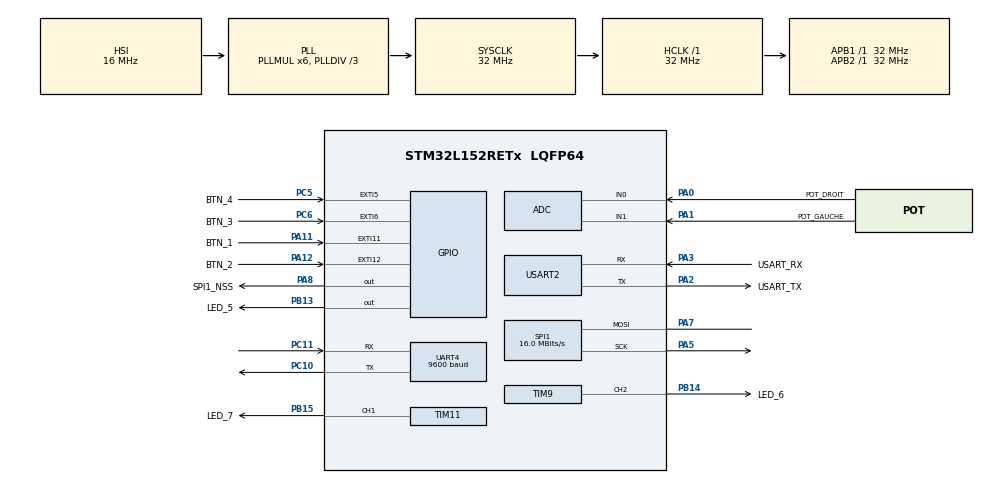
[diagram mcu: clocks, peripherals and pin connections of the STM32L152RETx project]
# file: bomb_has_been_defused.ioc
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ADC.Channel-0\#ChannelRegularConversion=ADC_CHANNEL_0
ADC.Channel-1\#ChannelRegularConversion=ADC_CHANNEL_1
ADC.DMAContinuousRequests=ENABLE
ADC.NbrOfConversion=2
ADC.NbrOfConversionFlag=1
ADC.Rank-0\#ChannelRegularConversion=1
ADC.Rank-1\#ChannelRegularConversion=2
ADC.SamplingTime-0\#ChannelRegularConversion=ADC_SAMPLETIME_4CYCLES
ADC.SamplingTime-1\#ChannelRegularConversion=ADC_SAMPLETIME_4CYCLES
ADC.ScanConvMode=ADC_SCAN_ENABLE
Dma.ADC.0.Direction=DMA_PERIPH_TO_MEMORY
Dma.ADC.0.Instance=DMA1_Channel1
Dma.ADC.0.MemDataAlignment=DMA_MDATAALIGN_HALFWORD
Dma.ADC.0.MemInc=DMA_MINC_ENABLE
Dma.ADC.0.Mode=DMA_CIRCULAR
Dma.ADC.0.PeriphDataAlignment=DMA_PDATAALIGN_HALFWORD
Dma.ADC.0.PeriphInc=DMA_PINC_DISABLE
Dma.ADC.0.Priority=DMA_PRIORITY_MEDIUM
Dma.Request0=ADC
Mcu.Family=STM32L1
Mcu.Name=STM32L152RETx
Mcu.Package=LQFP64
NVIC.ADC1_IRQn=true\:0\:5\:false\:false\:true\:true\:true\:true
NVIC.DMA1_Channel1_IRQn=true\:0\:0\:false\:false\:true\:false\:true\:true
NVIC.EXTI15_10_IRQn=true\:0\:0\:false\:false\:true\:true\:true\:true
NVIC.EXTI9_5_IRQn=true\:0\:0\:false\:false\:true\:true\:true\:true
NVIC.PriorityGroup=NVIC_PRIORITYGROUP_0
NVIC.TIM10_IRQn=true\:0\:2\:false\:false\:true\:true\:true\:true
NVIC.TIM11_IRQn=true\:0\:4\:false\:false\:true\:true\:true\:true
NVIC.TIM2_IRQn=true\:0\:1\:false\:false\:true\:true\:true\:true
NVIC.TIM3_IRQn=true\:0\:3\:false\:false\:true\:true\:true\:true
NVIC.TIM9_IRQn=true\:0\:4\:false\:false\:true\:true\:true\:true
PA0-WKUP1.GPIO_Label=POT_DROIT
PA0-WKUP1.Mode=IN0
PA0-WKUP1.Signal=ADC_IN0
PA1.GPIO_Label=POT_GAUCHE
PA1.Mode=IN1
PA1.Signal=ADC_IN1
PA11.GPIO_Label=BTN_1
PA11.Signal=GPXTI11
PA12.GPIO_Label=BTN_2
PA12.Signal=GPXTI12
PA13.GPIO_Label=TMS
PA13.Mode=Serial_Wire
PA13.Signal=SYS_JTMS-SWDIO
PA14.GPIO_Label=TCK
PA14.Mode=Serial_Wire
PA14.Signal=SYS_JTCK-SWCLK
PA2.GPIO_Label=USART_TX
PA2.Mode=Asynchronous
PA2.Signal=USART2_TX
PA3.GPIO_Label=USART_RX
PA3.Mode=Asynchronous
PA3.Signal=USART2_RX
PA5.Mode=Simplex_Bidirectional_Master
PA5.Signal=SPI1_SCK
PA7.Mode=Simplex_Bidirectional_Master
PA7.Signal=SPI1_MOSI
PA8.GPIO_Label=SPI1_NSS
PA8.Signal=GPIO_Output
PB13.GPIO_Label=LED_5
PB13.Signal=GPIO_Output
PB14.GPIO_Label=LED_6
PB14.Signal=S_TIM9_CH2
PB15.GPIO_Label=LED_7
PB15.Signal=S_TIM11_CH1
PB3.GPIO_Label=SWO
PB3.Signal=SYS_JTDO-TRACESWO
PC10.Mode=Asynchronous
PC10.Signal=UART4_TX
PC11.Mode=Asynchronous
PC11.Signal=UART4_RX
PC14-OSC32_IN.Mode=LSE-External-Oscillator
PC14-OSC32_IN.Signal=RCC_OSC32_IN
PC15-OSC32_OUT.Mode=LSE-External-Oscillator
PC15-OSC32_OUT.Signal=RCC_OSC32_OUT
PC5.GPIO_Label=BTN_4
PC5.Signal=GPXTI5
PC6.GPIO_Label=BTN_3
PC6.Signal=GPXTI6
PH0-OSC_IN.Mode=HSE-External-Clock-Source
PH0-OSC_IN.Signal=RCC_OSC_IN
PH1-OSC_OUT.Signal=RCC_OSC_OUT
ProjectManager.HeapSize=0x200
ProjectManager.StackSize=0x400
ProjectManager.TargetToolchain=Makefile
RCC.48MHZClocksFreq_Value=48000000
RCC.AHBFreq_Value=32000000
RCC.APB1Freq_Value=32000000
RCC.APB1TimFreq_Value=32000000
RCC.APB2Freq_Value=32000000
RCC.APB2TimFreq_Value=32000000
RCC.HCLKFreq_Value=32000000
RCC.HSE_VALUE=8000000
RCC.HSI_VALUE=16000000
RCC.MSI_VALUE=2097000
RCC.PLLDIV=RCC_PLL_DIV3
RCC.PLLMUL=RCC_PLL_MUL6
RCC.RTCClockSelectionVirtual=RCC_RTCCLKSOURCE_LSE
RCC.SYSCLKFreq_VALUE=32000000
RCC.SYSCLKSource=RCC_SYSCLKSOURCE_PLLCLK
RCC.USBOutput=48000000
RCC.VCOOutputFreq_Value=96000000
SH.S_TIM11_CH1.0=TIM11_CH1,PWM Generation1 CH1
SH.S_TIM9_CH2.0=TIM9_CH2,PWM Generation2 CH2
SPI1.CalculateBaudRate=16.0 MBits/s
SPI1.Direction=SPI_DIRECTION_1LINE
SPI1.Mode=SPI_MODE_MASTER
SPI1.VirtualType=VM_MASTER
TIM10.Period=31999
TIM10.Prescaler=999
TIM11.Channel=TIM_CHANNEL_1
TIM2.Period=49
TIM2.Prescaler=3199
TIM3.Period=15999
TIM3.Prescaler=499
TIM9.Channel-PWM\ Generation2\ CH2=TIM_CHANNEL_2
UART4.BaudRate=9600
UART4.VirtualMode=Asynchronous
USART2.VirtualMode=VM_ASYNC
VP_TIM10_VS_ClockSourceINT.Mode=Internal
VP_TIM2_VS_ClockSourceINT.Mode=Internal
VP_TIM3_VS_ClockSourceINT.Mode=Internal
board=NUCLEO-L152RE

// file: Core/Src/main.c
/* USER CODE BEGIN Header */
/**
 ******************************************************************************
 * @file           : main.c
 * @brief          : Main program body
 ******************************************************************************
 * @attention
 *
 * Copyright (c) 2023 STMicroelectronics.
 * All rights reserved.
 *
 * This software is licensed under terms that can be found in the LICENSE file
 * in the root directory of this software component.
 * If no LICENSE file comes with this software, it is provided AS-IS.
 *
 ******************************************************************************
 */
/* USER CODE END Header */
#include "main.h"

/* USER CODE BEGIN Includes */
#include <stdio.h>
#include <stdbool.h>
#include <math.h>
/* USER CODE END Includes */

/* USER CODE BEGIN PD */
#define SPI_TIMEOUT 1000
#define TIME_GAME 60 // Temps pour defuser la bombe
#define BUFFER_SIZE 10
#define PI 3 // valeur exacte de pi
#define DELAY_DEBOUNCE 300

// Define pour le MP3 - a utilise avec la fonction void play_track(uint8_t track_nb);
// Corresponds à la position de la bande sons dans la mémoire de l'interface haut parleur
#define BIP 1
#define SOUND_START_BOMB 2
#define BOMB_DEFUSED 3
#define BOMB_EXPLODED 4
#define SOUND_PUSH_BUTTON 5
#define BOMB_HAS_BEEN_PLANTED 6
/* USER CODE END PD */

ADC_HandleTypeDef hadc;
DMA_HandleTypeDef hdma_adc;

SPI_HandleTypeDef hspi1;

TIM_HandleTypeDef htim2;
TIM_HandleTypeDef htim3;
TIM_HandleTypeDef htim9;
TIM_HandleTypeDef htim10;
TIM_HandleTypeDef htim11;

UART_HandleTypeDef huart4;
UART_HandleTypeDef huart2;

/* USER CODE BEGIN PV */
// region[rgba(1, 70, 70, 0.15)]  <= colore la région (Colored Region extension for vscode)

uint32_t seed;
uint16_t adcData[2];
volatile bool adcOk = false;

uint8_t time_in_second = TIME_GAME;
uint8_t flag_bipbip = 0;
uint8_t freqence_bipbip = 0;

bool bombPlanted = false;
uint8_t buttonPlantCurrentIndex = 0;
uint8_t buttonOrderPlant[4] = {1, 2, 3, 4}; // Séquence de boutons pour planter la bombe

volatile bool buttonOk = false;
uint8_t buttonCurrentIndex = 0;
uint8_t buttonOrderDefuse[4];
uint32_t buttonElapsed[4] = {0, 0, 0, 0}; // Tableau pour le debounce des boutons
typedef enum                              // Enumération des états du jeu
{
  ETAT_INITIALISATION,
  ETAT_JEU,
  ETAT_VICTOIRE,
  ETAT_DEFAITE
} EtatJeu;

EtatJeu etat = ETAT_INITIALISATION;
// endregion
/* USER CODE END PV */

void SystemClock_Config(void);
static void MX_GPIO_Init(void);
static void MX_DMA_Init(void);
static void MX_USART2_UART_Init(void);
static void MX_ADC_Init(void);
static void MX_SPI1_Init(void);
static void MX_TIM10_Init(void);
static void MX_UART4_Init(void);
static void MX_TIM2_Init(void);
static void MX_TIM9_Init(void);
static void MX_TIM11_Init(void);
static void MX_TIM3_Init(void);
/* USER CODE BEGIN PFP */
void ledUpdate(uint16_t adcValue, TIM_HandleTypeDef *htim, uint32_t Channel);
void BCD_SendCommand(uint8_t addr, uint8_t data);
void BCD_Init(uint16_t time_in_second);
void HAL_TIM_PeriodElapsedCallback(TIM_HandleTypeDef *htim);
int BCD_updateClock(uint16_t time_in_second);
void secondToClockDisplay(uint16_t time_in_second);
void play();
void play_track(uint8_t track_nb);
void randomButtonSequence();

/* USER CODE END PFP */

int main(void)
{

  /* MCU Configuration--------------------------------------------------------*/

  /* Reset of all peripherals, Initializes the Flash interface and the Systick. */
  HAL_Init();

  /* Configure the system clock */
  SystemClock_Config();

  /* Initialize all configured peripherals */
  MX_GPIO_Init();
  MX_DMA_Init();
  MX_USART2_UART_Init();
  MX_ADC_Init();
  MX_SPI1_Init();
  MX_TIM10_Init();
  MX_UART4_Init();
  MX_TIM2_Init();
  MX_TIM9_Init();
  MX_TIM11_Init();
  MX_TIM3_Init();
  /* USER CODE BEGIN 2 */
  printf("Starting\r\n");

  HAL_TIM_Base_Start_IT(&htim2);
  HAL_TIM_PWM_Start(&htim11, TIM_CHANNEL_1);
  HAL_TIM_PWM_Start(&htim9, TIM_CHANNEL_2);
  HAL_TIM_Base_Start_IT(&htim3); // Timer bipbip

  BCD_Init(0);
  play_track(SOUND_START_BOMB);
  /* USER CODE END 2 */

  /* Infinite loop */
  /* USER CODE BEGIN WHILE */
  // region[rgba(52, 73, 94, 0.1)]
  while (1)
  {
    switch (etat)
    {
      // Initialisation
    case ETAT_INITIALISATION:
    {
      printf("ETAT_INITIALISATION\r\n");
      if (bombPlanted == true)
      {
        play_track(BOMB_HAS_BEEN_PLANTED);
        HAL_Delay(1500);          // Délai pour jouer le son de la bombe plantée
        BCD_Init(time_in_second); // Clignotement de l'afficheur et préparation à l'affichage
        randomButtonSequence();   // Générer une nouvelle séquence si nécessaire
        bombPlanted = false;
        etat = ETAT_JEU;
      }
      break;
    }
      // Jeu
    case ETAT_JEU:
    {
      HAL_TIM_Base_Start_IT(&htim10); // Timer décompteur
      if (etat == ETAT_JEU)
      {
        printf("ETAT_JEU\r\n");
        if (time_in_second == 0)
        {
          etat = ETAT_DEFAITE;
        }
        if (buttonOk)
        {
          HAL_GPIO_TogglePin(LED_5_GPIO_Port, LED_5_Pin);
          HAL_Delay(200);
          if (adcOk)
          {
            etat = ETAT_VICTOIRE;
          }
        }
        // Gestion fréquence des bip bip
        if (time_in_second > 15)  {freqence_bipbip = 200;}
        if (time_in_second <= 15) {freqence_bipbip = 100;}
        if (time_in_second <= 10) {freqence_bipbip = 50;}
        if (time_in_second <= 5)   {freqence_bipbip = 30;}
        if (flag_bipbip > freqence_bipbip)
        {
          play_track(BIP);
          flag_bipbip = 0;
        }
      }
      break;
    }
    // Victoire
    case ETAT_VICTOIRE:
    {
      if (etat == ETAT_VICTOIRE)
      {
        printf("ETAT_VICTOIRE\r\n");
        HAL_TIM_Base_Stop_IT(&htim10);
        play_track(BOMB_DEFUSED);
        etat = ETAT_INITIALISATION;
      }
      break;
    }
    // Défaite
    case ETAT_DEFAITE:
    {
      if (etat == ETAT_DEFAITE)
      {
        printf("ETAT_DEFAITE\r\n");
        HAL_TIM_Base_Stop_IT(&htim10);
        play_track(BOMB_EXPLODED);
        etat = ETAT_INITIALISATION;
      }
    }
    default:
      break;
    }
  }
  // endregion
  /* USER CODE END WHILE */

}

void SystemClock_Config(void)
{
  RCC_OscInitTypeDef RCC_OscInitStruct = {0};
  RCC_ClkInitTypeDef RCC_ClkInitStruct = {0};

  /** Configure the main internal regulator output voltage
   */
  __HAL_PWR_VOLTAGESCALING_CONFIG(PWR_REGULATOR_VOLTAGE_SCALE1);

  /** Initializes the RCC Oscillators according to the specified parameters
   * in the RCC_OscInitTypeDef structure.
   */
  RCC_OscInitStruct.OscillatorType = RCC_OSCILLATORTYPE_HSI;
  RCC_OscInitStruct.HSIState = RCC_HSI_ON;
  RCC_OscInitStruct.HSICalibrationValue = RCC_HSICALIBRATION_DEFAULT;
  RCC_OscInitStruct.PLL.PLLState = RCC_PLL_ON;
  RCC_OscInitStruct.PLL.PLLSource = RCC_PLLSOURCE_HSI;
  RCC_OscInitStruct.PLL.PLLMUL = RCC_PLL_MUL6;
  RCC_OscInitStruct.PLL.PLLDIV = RCC_PLL_DIV3;
  if (HAL_RCC_OscConfig(&RCC_OscInitStruct) != HAL_OK)
  {
    Error_Handler();
  }

  /** Initializes the CPU, AHB and APB buses clocks
   */
  RCC_ClkInitStruct.ClockType = RCC_CLOCKTYPE_HCLK | RCC_CLOCKTYPE_SYSCLK | RCC_CLOCKTYPE_PCLK1 | RCC_CLOCKTYPE_PCLK2;
  RCC_ClkInitStruct.SYSCLKSource = RCC_SYSCLKSOURCE_PLLCLK;
  RCC_ClkInitStruct.AHBCLKDivider = RCC_SYSCLK_DIV1;
  RCC_ClkInitStruct.APB1CLKDivider = RCC_HCLK_DIV1;
  RCC_ClkInitStruct.APB2CLKDivider = RCC_HCLK_DIV1;

  if (HAL_RCC_ClockConfig(&RCC_ClkInitStruct, FLASH_LATENCY_1) != HAL_OK)
  {
    Error_Handler();
  }
}

static void MX_ADC_Init(void)
{

  ADC_ChannelConfTypeDef sConfig = {0};

  /** Configure the global features of the ADC (Clock, Resolution, Data Alignment and number of conversion)
   */
  hadc.Instance = ADC1;
  hadc.Init.ClockPrescaler = ADC_CLOCK_ASYNC_DIV1;
  hadc.Init.Resolution = ADC_RESOLUTION_12B;
  hadc.Init.DataAlign = ADC_DATAALIGN_RIGHT;
  hadc.Init.ScanConvMode = ADC_SCAN_ENABLE;
  hadc.Init.EOCSelection = ADC_EOC_SEQ_CONV;
  hadc.Init.LowPowerAutoWait = ADC_AUTOWAIT_DISABLE;
  hadc.Init.LowPowerAutoPowerOff = ADC_AUTOPOWEROFF_DISABLE;
  hadc.Init.ChannelsBank = ADC_CHANNELS_BANK_A;
  hadc.Init.ContinuousConvMode = DISABLE;
  hadc.Init.NbrOfConversion = 2;
  hadc.Init.DiscontinuousConvMode = DISABLE;
  hadc.Init.ExternalTrigConv = ADC_SOFTWARE_START;
  hadc.Init.ExternalTrigConvEdge = ADC_EXTERNALTRIGCONVEDGE_NONE;
  hadc.Init.DMAContinuousRequests = ENABLE;
  if (HAL_ADC_Init(&hadc) != HAL_OK)
  {
    Error_Handler();
  }

  /** Configure for the selected ADC regular channel its corresponding rank in the sequencer and its sample time.
   */
  sConfig.Channel = ADC_CHANNEL_0;
  sConfig.Rank = ADC_REGULAR_RANK_1;
  sConfig.SamplingTime = ADC_SAMPLETIME_4CYCLES;
  if (HAL_ADC_ConfigChannel(&hadc, &sConfig) != HAL_OK)
  {
    Error_Handler();
  }

  /** Configure for the selected ADC regular channel its corresponding rank in the sequencer and its sample time.
   */
  sConfig.Channel = ADC_CHANNEL_1;
  sConfig.Rank = ADC_REGULAR_RANK_2;
  if (HAL_ADC_ConfigChannel(&hadc, &sConfig) != HAL_OK)
  {
    Error_Handler();
  }
}

static void MX_SPI1_Init(void)
{

  /* SPI1 parameter configuration*/
  hspi1.Instance = SPI1;
  hspi1.Init.Mode = SPI_MODE_MASTER;
  hspi1.Init.Direction = SPI_DIRECTION_1LINE;
  hspi1.Init.DataSize = SPI_DATASIZE_8BIT;
  hspi1.Init.CLKPolarity = SPI_POLARITY_LOW;
  hspi1.Init.CLKPhase = SPI_PHASE_1EDGE;
  hspi1.Init.NSS = SPI_NSS_SOFT;
  hspi1.Init.BaudRatePrescaler = SPI_BAUDRATEPRESCALER_2;
  hspi1.Init.FirstBit = SPI_FIRSTBIT_MSB;
  hspi1.Init.TIMode = SPI_TIMODE_DISABLE;
  hspi1.Init.CRCCalculation = SPI_CRCCALCULATION_DISABLE;
  hspi1.Init.CRCPolynomial = 10;
  if (HAL_SPI_Init(&hspi1) != HAL_OK)
  {
    Error_Handler();
  }
}

static void MX_TIM2_Init(void)
{

  TIM_ClockConfigTypeDef sClockSourceConfig = {0};
  TIM_MasterConfigTypeDef sMasterConfig = {0};

  htim2.Instance = TIM2;
  htim2.Init.Prescaler = 3199;
  htim2.Init.CounterMode = TIM_COUNTERMODE_UP;
  htim2.Init.Period = 49;
  htim2.Init.ClockDivision = TIM_CLOCKDIVISION_DIV1;
  htim2.Init.AutoReloadPreload = TIM_AUTORELOAD_PRELOAD_DISABLE;
  if (HAL_TIM_Base_Init(&htim2) != HAL_OK)
  {
    Error_Handler();
  }
  sClockSourceConfig.ClockSource = TIM_CLOCKSOURCE_INTERNAL;
  if (HAL_TIM_ConfigClockSource(&htim2, &sClockSourceConfig) != HAL_OK)
  {
    Error_Handler();
  }
  sMasterConfig.MasterOutputTrigger = TIM_TRGO_RESET;
  sMasterConfig.MasterSlaveMode = TIM_MASTERSLAVEMODE_DISABLE;
  if (HAL_TIMEx_MasterConfigSynchronization(&htim2, &sMasterConfig) != HAL_OK)
  {
    Error_Handler();
  }
}

static void MX_TIM3_Init(void)
{

  TIM_ClockConfigTypeDef sClockSourceConfig = {0};
  TIM_MasterConfigTypeDef sMasterConfig = {0};

  htim3.Instance = TIM3;
  htim3.Init.Prescaler = 499;
  htim3.Init.CounterMode = TIM_COUNTERMODE_UP;
  htim3.Init.Period = 15999;
  htim3.Init.ClockDivision = TIM_CLOCKDIVISION_DIV1;
  htim3.Init.AutoReloadPreload = TIM_AUTORELOAD_PRELOAD_DISABLE;
  if (HAL_TIM_Base_Init(&htim3) != HAL_OK)
  {
    Error_Handler();
  }
  sClockSourceConfig.ClockSource = TIM_CLOCKSOURCE_INTERNAL;
  if (HAL_TIM_ConfigClockSource(&htim3, &sClockSourceConfig) != HAL_OK)
  {
    Error_Handler();
  }
  sMasterConfig.MasterOutputTrigger = TIM_TRGO_RESET;
  sMasterConfig.MasterSlaveMode = TIM_MASTERSLAVEMODE_DISABLE;
  if (HAL_TIMEx_MasterConfigSynchronization(&htim3, &sMasterConfig) != HAL_OK)
  {
    Error_Handler();
  }
}

static void MX_TIM9_Init(void)
{

  TIM_MasterConfigTypeDef sMasterConfig = {0};
  TIM_OC_InitTypeDef sConfigOC = {0};

  htim9.Instance = TIM9;
  htim9.Init.Prescaler = 0;
  htim9.Init.CounterMode = TIM_COUNTERMODE_UP;
  htim9.Init.Period = 65535;
  htim9.Init.ClockDivision = TIM_CLOCKDIVISION_DIV1;
  htim9.Init.AutoReloadPreload = TIM_AUTORELOAD_PRELOAD_DISABLE;
  if (HAL_TIM_PWM_Init(&htim9) != HAL_OK)
  {
    Error_Handler();
  }
  sMasterConfig.MasterOutputTrigger = TIM_TRGO_RESET;
  sMasterConfig.MasterSlaveMode = TIM_MASTERSLAVEMODE_DISABLE;
  if (HAL_TIMEx_MasterConfigSynchronization(&htim9, &sMasterConfig) != HAL_OK)
  {
    Error_Handler();
  }
  sConfigOC.OCMode = TIM_OCMODE_PWM1;
  sConfigOC.Pulse = 0;
  sConfigOC.OCPolarity = TIM_OCPOLARITY_HIGH;
  sConfigOC.OCFastMode = TIM_OCFAST_DISABLE;
  if (HAL_TIM_PWM_ConfigChannel(&htim9, &sConfigOC, TIM_CHANNEL_2) != HAL_OK)
  {
    Error_Handler();
  }
  HAL_TIM_MspPostInit(&htim9);
}

static void MX_TIM10_Init(void)
{

  TIM_ClockConfigTypeDef sClockSourceConfig = {0};

  htim10.Instance = TIM10;
  htim10.Init.Prescaler = 999;
  htim10.Init.CounterMode = TIM_COUNTERMODE_UP;
  htim10.Init.Period = 31999;
  htim10.Init.ClockDivision = TIM_CLOCKDIVISION_DIV1;
  htim10.Init.AutoReloadPreload = TIM_AUTORELOAD_PRELOAD_DISABLE;
  if (HAL_TIM_Base_Init(&htim10) != HAL_OK)
  {
    Error_Handler();
  }
  sClockSourceConfig.ClockSource = TIM_CLOCKSOURCE_INTERNAL;
  if (HAL_TIM_ConfigClockSource(&htim10, &sClockSourceConfig) != HAL_OK)
  {
    Error_Handler();
  }
}

static void MX_TIM11_Init(void)
{

  TIM_OC_InitTypeDef sConfigOC = {0};

  htim11.Instance = TIM11;
  htim11.Init.Prescaler = 0;
  htim11.Init.CounterMode = TIM_COUNTERMODE_UP;
  htim11.Init.Period = 65535;
  htim11.Init.ClockDivision = TIM_CLOCKDIVISION_DIV1;
  htim11.Init.AutoReloadPreload = TIM_AUTORELOAD_PRELOAD_DISABLE;
  if (HAL_TIM_PWM_Init(&htim11) != HAL_OK)
  {
    Error_Handler();
  }
  sConfigOC.OCMode = TIM_OCMODE_PWM1;
  sConfigOC.Pulse = 0;
  sConfigOC.OCPolarity = TIM_OCPOLARITY_HIGH;
  sConfigOC.OCFastMode = TIM_OCFAST_DISABLE;
  if (HAL_TIM_PWM_ConfigChannel(&htim11, &sConfigOC, TIM_CHANNEL_1) != HAL_OK)
  {
    Error_Handler();
  }
  HAL_TIM_MspPostInit(&htim11);
}

static void MX_UART4_Init(void)
{

  huart4.Instance = UART4;
  huart4.Init.BaudRate = 9600;
  huart4.Init.WordLength = UART_WORDLENGTH_8B;
  huart4.Init.StopBits = UART_STOPBITS_1;
  huart4.Init.Parity = UART_PARITY_NONE;
  huart4.Init.Mode = UART_MODE_TX_RX;
  huart4.Init.HwFlowCtl = UART_HWCONTROL_NONE;
  huart4.Init.OverSampling = UART_OVERSAMPLING_16;
  if (HAL_UART_Init(&huart4) != HAL_OK)
  {
    Error_Handler();
  }
}

static void MX_USART2_UART_Init(void)
{

  huart2.Instance = USART2;
  huart2.Init.BaudRate = 115200;
  huart2.Init.WordLength = UART_WORDLENGTH_8B;
  huart2.Init.StopBits = UART_STOPBITS_1;
  huart2.Init.Parity = UART_PARITY_NONE;
  huart2.Init.Mode = UART_MODE_TX_RX;
  huart2.Init.HwFlowCtl = UART_HWCONTROL_NONE;
  huart2.Init.OverSampling = UART_OVERSAMPLING_16;
  if (HAL_UART_Init(&huart2) != HAL_OK)
  {
    Error_Handler();
  }
}

static void MX_DMA_Init(void)
{

  /* DMA controller clock enable */
  __HAL_RCC_DMA1_CLK_ENABLE();

  /* DMA interrupt init */
  /* DMA1_Channel1_IRQn interrupt configuration */
  HAL_NVIC_SetPriority(DMA1_Channel1_IRQn, 0, 0);
  HAL_NVIC_EnableIRQ(DMA1_Channel1_IRQn);
}

static void MX_GPIO_Init(void)
{
  GPIO_InitTypeDef GPIO_InitStruct = {0};

  /* GPIO Ports Clock Enable */
  __HAL_RCC_GPIOC_CLK_ENABLE();
  __HAL_RCC_GPIOH_CLK_ENABLE();
  __HAL_RCC_GPIOA_CLK_ENABLE();
  __HAL_RCC_GPIOB_CLK_ENABLE();

  /*Configure GPIO pin Output Level */
  HAL_GPIO_WritePin(LED_5_GPIO_Port, LED_5_Pin, GPIO_PIN_RESET);

  /*Configure GPIO pin Output Level */
  HAL_GPIO_WritePin(SPI1_NSS_GPIO_Port, SPI1_NSS_Pin, GPIO_PIN_RESET);

  /*Configure GPIO pins : BTN_4_Pin BTN_3_Pin */
  GPIO_InitStruct.Pin = BTN_4_Pin | BTN_3_Pin;
  GPIO_InitStruct.Mode = GPIO_MODE_IT_RISING;
  GPIO_InitStruct.Pull = GPIO_NOPULL;
  HAL_GPIO_Init(GPIOC, &GPIO_InitStruct);

  /*Configure GPIO pin : LED_5_Pin */
  GPIO_InitStruct.Pin = LED_5_Pin;
  GPIO_InitStruct.Mode = GPIO_MODE_OUTPUT_PP;
  GPIO_InitStruct.Pull = GPIO_NOPULL;
  GPIO_InitStruct.Speed = GPIO_SPEED_FREQ_LOW;
  HAL_GPIO_Init(LED_5_GPIO_Port, &GPIO_InitStruct);

  /*Configure GPIO pin : SPI1_NSS_Pin */
  GPIO_InitStruct.Pin = SPI1_NSS_Pin;
  GPIO_InitStruct.Mode = GPIO_MODE_OUTPUT_PP;
  GPIO_InitStruct.Pull = GPIO_NOPULL;
  GPIO_InitStruct.Speed = GPIO_SPEED_FREQ_LOW;
  HAL_GPIO_Init(SPI1_NSS_GPIO_Port, &GPIO_InitStruct);

  /*Configure GPIO pins : BTN_1_Pin BTN_2_Pin */
  GPIO_InitStruct.Pin = BTN_1_Pin | BTN_2_Pin;
  GPIO_InitStruct.Mode = GPIO_MODE_IT_RISING;
  GPIO_InitStruct.Pull = GPIO_NOPULL;
  HAL_GPIO_Init(GPIOA, &GPIO_InitStruct);

  /* EXTI interrupt init*/
  HAL_NVIC_SetPriority(EXTI9_5_IRQn, 0, 0);
  HAL_NVIC_EnableIRQ(EXTI9_5_IRQn);

  HAL_NVIC_SetPriority(EXTI15_10_IRQn, 0, 0);
  HAL_NVIC_EnableIRQ(EXTI15_10_IRQn);

}

/* USER CODE BEGIN 4 */
int __io_putchar(int ch)
{
  ITM_SendChar(ch);
  return ch;
}

// Fonction random
// region[rgba(49, 120, 80, 0.12)]
// Générateur linéaire congruentiel aléatoire
void randomGLC()
{
  const uint32_t a = 1664525;
  const uint32_t c = 1013904223;
  const uint32_t m = 0xFFFF;

  seed = (a * (seed) + c) % m;
}

/**
 * Mélange les valeurs de buttonOrderDefuse
 */
void randomButtonSequence()
{
  uint8_t numbers[] = {1, 2, 3, 4};

  for (uint8_t i = 1; i < 4; i++)
  {
    int j = (seed % (i + 1));
    uint8_t temp = numbers[i];
    numbers[i] = numbers[j];
    numbers[j] = temp;
  }

  // Copiez les valeurs mélangées dans buttonOrderDefuse
  for (uint8_t i = 0; i < 4; i++)
  {
    buttonOrderDefuse[i] = numbers[i];
  }
}
// endregion

// Gestion de l'ADC
// region[rgba(90, 130, 0, 0.1)]
void ledUpdate(uint16_t data, TIM_HandleTypeDef *Timer, uint32_t Channel)
{
  // normaliser la valeur de l'ADC pour qu'elle varie de 0.0 à 1.0
  double dataNorm = (double)data / 0xFFF;

  double radian_part = 2 * PI * dataNorm;

  // Calculer la valeur de la sinusoïde, ajustée pour varier de 0 à 1
  double sinusValue = (sin(radian_part / 2));

  // Ajuster pour la plage PWM complète
  uint16_t pwmValue = 0xFFFF * sinusValue;

  // Définir la valeur PWM
  __HAL_TIM_SET_COMPARE(Timer, Channel, pwmValue);
}

// endregion

// Gestion des boutons
// region[rgba(0, 0, 255, 0.1)]

// Vérifie si le bouton appuyé est dans la séquence de boutons pour désamorcer la bombe
void checkUserInput(uint8_t userInput)
{
  if (userInput == buttonOrderDefuse[buttonCurrentIndex]) // Vérifier si le bouton appuyé correspond
  {
    buttonCurrentIndex++;
    HAL_GPIO_WritePin(LED_5_GPIO_Port, LED_5_Pin, GPIO_PIN_SET);

    if (buttonCurrentIndex == 4) // 4 itérations correctes = met le flag à true
    {
      buttonOk = true;
    }
  }
  else // reset le compteur si le bouton appuyé ne correspond pas
  {
    buttonCurrentIndex = 0;
    HAL_GPIO_WritePin(LED_5_GPIO_Port, LED_5_Pin, GPIO_PIN_RESET);
  }
}

// Vérifie si le bouton appuyé est dans la séquence de boutons pour planter la bombe
void checkButtonOrderPlant(uint8_t pressedButton)
{
  if (pressedButton == buttonOrderPlant[buttonPlantCurrentIndex])
  {
    buttonPlantCurrentIndex++;
    HAL_GPIO_WritePin(LED_5_GPIO_Port, LED_5_Pin, GPIO_PIN_SET);

    if (buttonPlantCurrentIndex == 1)
    {
      BCD_SendCommand(0x04, 0x01);
    }
    if (buttonPlantCurrentIndex == 2)
    {
      BCD_SendCommand(0x04, 0x02);
      BCD_SendCommand(0x03, 0x01);
    }
    if (buttonPlantCurrentIndex == 3)
    {
      BCD_SendCommand(0x04, 0x03);
      BCD_SendCommand(0x03, 0x02);
      BCD_SendCommand(0x02, 0x01);
    }

    if (buttonPlantCurrentIndex == 4)
    {
      BCD_SendCommand(0x04, 0x04);
      BCD_SendCommand(0x03, 0x03);
      BCD_SendCommand(0x02, 0x02);
      BCD_SendCommand(0x01, 0x01);

      bombPlanted = true; // Flag indiquant que la bombe a été plantée

      HAL_GPIO_WritePin(LED_5_GPIO_Port, LED_5_Pin, GPIO_PIN_RESET);
      buttonPlantCurrentIndex = 0; // Réinitialiser pour la prochaine utilisation
    }
  }
  else
  {
    buttonPlantCurrentIndex = 0;

    HAL_GPIO_WritePin(LED_5_GPIO_Port, LED_5_Pin, GPIO_PIN_RESET);
  }
}

// interruption pour les boutons
void HAL_GPIO_EXTI_Callback(uint16_t GPIO_Pin)
{
  switch (GPIO_Pin)
  {
  case BTN_1_Pin:
    if (HAL_GetTick() > (buttonElapsed[0] + DELAY_DEBOUNCE))
    {
      printf("btn 1\r\n");
      buttonElapsed[0] = HAL_GetTick();
      play_track(SOUND_PUSH_BUTTON);
      if (etat == ETAT_INITIALISATION)
      {
        checkButtonOrderPlant(1);
      }
      else
      {
        checkUserInput(1);
      }
    }
    break;
  case BTN_2_Pin:
    if (HAL_GetTick() > (buttonElapsed[1] + DELAY_DEBOUNCE))
    {
      printf("btn 2\r\n");
      buttonElapsed[1] = HAL_GetTick();
      play_track(SOUND_PUSH_BUTTON);
      if (etat == ETAT_INITIALISATION)
      {
        checkButtonOrderPlant(2);
      }
      else
      {
        checkUserInput(2);
      }
    }
    break;
  case BTN_3_Pin:
    if (HAL_GetTick() > (buttonElapsed[2] + DELAY_DEBOUNCE))
    {
      printf("btn 3\r\n");
      buttonElapsed[2] = HAL_GetTick();
      play_track(SOUND_PUSH_BUTTON);
      if (etat == ETAT_INITIALISATION)
      {
        checkButtonOrderPlant(3);
      }
      else
      {
        checkUserInput(3);
      }
    }
    break;
  case BTN_4_Pin:
    if (HAL_GetTick() > (buttonElapsed[3] + DELAY_DEBOUNCE))
    {
      printf("btn 4\r\n");
      buttonElapsed[3] = HAL_GetTick();
      play_track(SOUND_PUSH_BUTTON);
      if (etat == ETAT_INITIALISATION)
      {
        checkButtonOrderPlant(4);
      }
      else
      {
        checkUserInput(4);
      }
    }
    break;
  default:
    break;
  }
}
// endregion

// Fonction BCD
// region[rgba(150, 30, 200, 0.08)]
// Envoi de la commande à l'afficheur
void BCD_SendCommand(uint8_t addr, uint8_t data)
{
  uint8_t mot[2] = {addr, data};

  HAL_GPIO_WritePin(SPI1_NSS_GPIO_Port, SPI1_NSS_Pin, GPIO_PIN_RESET);
  HAL_SPI_Transmit(&hspi1, mot, 2, SPI_TIMEOUT);
  HAL_GPIO_WritePin(SPI1_NSS_GPIO_Port, SPI1_NSS_Pin, GPIO_PIN_SET);
}

// Initialisation de l'affichage de l'horloge
void BCD_Init(uint16_t time_in_second)
{

  BCD_SendCommand(0x0C, 0x01); // shutdown pour reset/economie energie
  BCD_SendCommand(0x09, 0x0F); // decode permet utiliser tab predefinie au lieu seg/seg
  BCD_SendCommand(0x0B, 0x03); // scanlimit
  BCD_SendCommand(0x0A, 0x01); // regle intensité lumineuse

  // flash de l'afficheur
  for (int i = 0; i < 3; i++)
  {
    BCD_SendCommand(0xFF, 0xFF);
    HAL_Delay(50);
    BCD_SendCommand(0xFF, 0x00);
    HAL_Delay(50);
  }

  uint8_t seconds = 0;
  uint8_t diz_seconds = 0;
  uint8_t minutes = 0;
  uint8_t diz_minutes = 0;

  minutes = time_in_second / 60;
  seconds = time_in_second % 60;

  if (minutes >= 10)
  {
    diz_minutes = minutes / 10;
    minutes = minutes % 10;
  }
  if (seconds >= 10)
  {
    diz_seconds = seconds / 10;
    seconds = seconds % 10;
  }

  BCD_SendCommand(0x01, diz_minutes);
  BCD_SendCommand(0x02, minutes);
  BCD_SendCommand(0x03, diz_seconds);
  BCD_SendCommand(0x04, seconds);
}

// Mise à jour de l'affichage de l'horloge
int BCD_updateClock(uint16_t time_in_second)
{

  if (time_in_second == 0)
  {
    return 0;
  }

  time_in_second--;

  uint8_t seconds = 0;
  uint8_t diz_seconds = 0;
  uint8_t minutes = 0;
  uint8_t diz_minutes = 0;

  minutes = time_in_second / 60;
  seconds = time_in_second % 60;

  if (seconds >= 10)
  {
    diz_seconds = seconds / 10;
    seconds = seconds % 10;
  }
  if (minutes >= 10)
  {
    diz_minutes = minutes / 10;
    minutes = minutes % 10;
  }

  BCD_SendCommand(0x01, diz_minutes);
  BCD_SendCommand(0x02, minutes);
  BCD_SendCommand(0x03, diz_seconds);
  BCD_SendCommand(0x04, seconds);

  return time_in_second;
}
// endregion

// Gestion du son
void play(void)
{
  uint8_t array[4] = {0xAA, 0x02, 0x00, 0xAC};
  HAL_UART_Transmit(&huart4, array, sizeof(array), 1000);
}

// Gestion des sons pré-enregistrés
void play_track(uint8_t track_nb)
{
  uint8_t array[6] = {0xAA, 0x07, 0x02, 0x00, track_nb, 0xB3 + track_nb};
  HAL_UART_Transmit(&huart4, array, sizeof(array), 1000);
}

// Gestion du temps
//  region[rgba(180, 100, 0, 0.1)]
void secondToClockDisplay(uint16_t time_in_second)
{
}

// interruption timer
void HAL_TIM_PeriodElapsedCallback(TIM_HandleTypeDef *htim)
{
  if (htim->Instance == TIM2) // Timer de 5ms
  {
    // Démarrer la conversion ADC
    HAL_ADC_Start_DMA(&hadc, (uint32_t *)adcData, 2);
    // update PWM des leds
    ledUpdate(adcData[0], &htim9, TIM_CHANNEL_2);
    ledUpdate(adcData[1], &htim11, TIM_CHANNEL_1);

    // génération de la seed
    randomGLC();

    // Gestion du bipbip
    flag_bipbip++;

    // vérification valeur ADC
    if ((adcData[0] > 0xF100) && (adcData[1] > 0xF100))
    {
      adcOk = true;
      printf("adcOk\r\n");
    }
  }

  if (htim->Instance == TIM10) // Timer de 1s
  {
    time_in_second = BCD_updateClock(time_in_second);
  }

  if (htim->Instance == TIM3)
  {
  }
}
// endregion
/* USER CODE END 4 */

void Error_Handler(void)
{
  __disable_irq();
  while (1)
  {
  }
}
